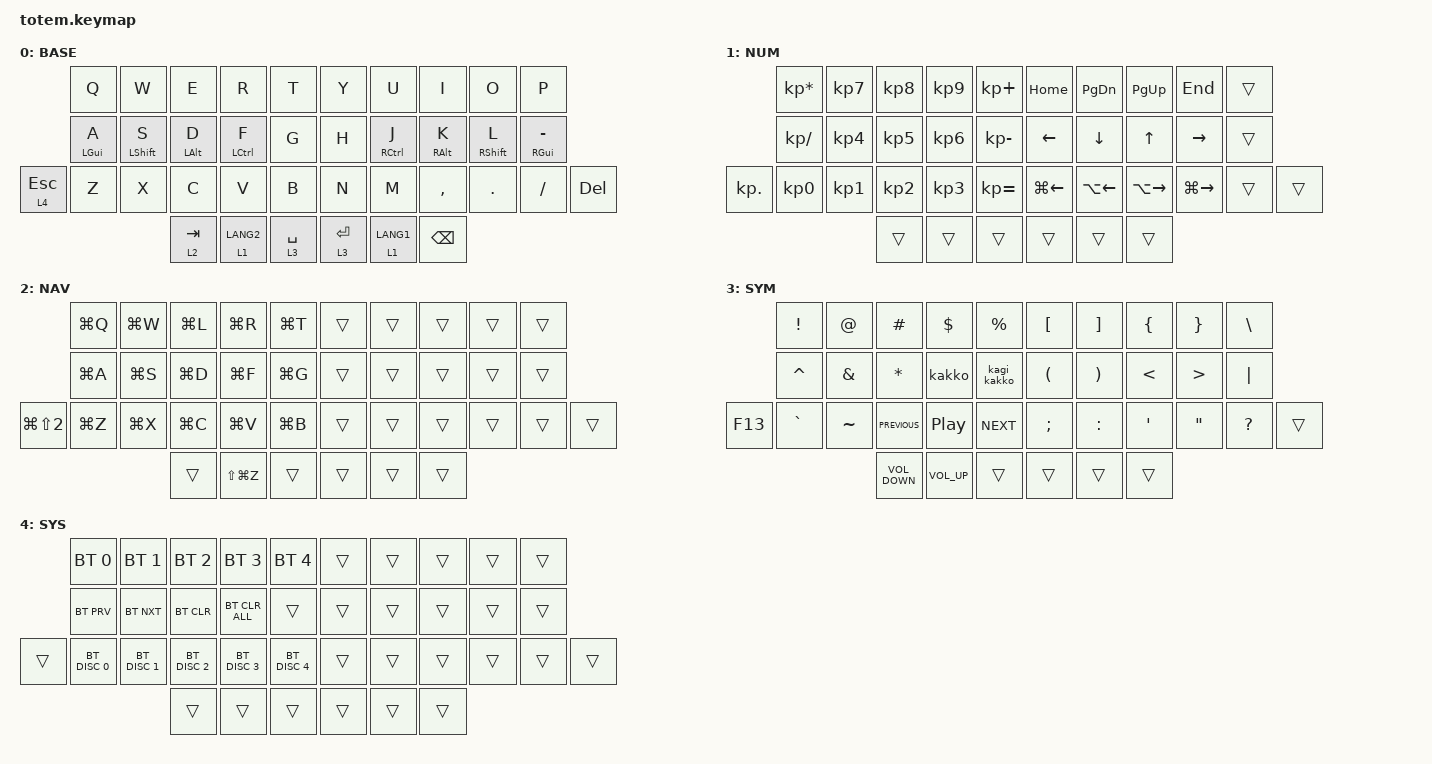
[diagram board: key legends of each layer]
//
//                                                        ▀▀▀▀▀     ▀▀▀▀▀          ▀▀█▀▀
//                                                        ▄▀▀▀▄  ▄  ▄▀▀▀▄  ▄  ▄▀▀▀▄  █  ▄▀▀▀▄
//                                                        █   █  █  █   █  █  █   █  █  █   █
//                                                         ▀▀▀   █   ▀▀▀   █   ▀▀▀   ▀   ▀▀▀
//                                                               █      ▄▄▄█▄▄▄    █   █  
//                                                               ▀      █  █  █     █▄█
//                                                             ▀▀▀▀▀    █  █  █      ▀
//                                                                      ▀  ▀  ▀
//
// ▄▄▄▄▄▄▄▄▄▄▄▄▄▄▄▄▄▄▄▄▄▄▄▄▄▄▄▄▄▄▄▄▄▄▄▄▄▄▄▄▄▄▄▄▄▄▄▄▄▄▄▄▄▄▄▄▄▄▄▄▄▄▄▄▄▄▄▄▄▄▄▄▄▄▄▄▄▄▄▄▄▄▄▄▄▄▄▄▄▄▄▄▄▄▄▄▄▄▄▄▄▄▄▄▄▄▄▄▄▄▄▄▄▄▄▄▄▄▄▄▄▄▄▄▄▄▄▄▄▄▄▄▄▄▄▄▄▄▄▄▄▄▄▄▄▄▄▄▄

#include <behaviors.dtsi>
#include <dt-bindings/zmk/bt.h>
#include <dt-bindings/zmk/keys.h>

// dt-formatter: indent = "    "
// dt-formatter: multilineIntegerCellsIndent = "keep"
// dt-formatter: multilineListCommaStyle = "leading"

&mt {
    quick-tap-ms = <100>;
    global-quick-tap;
    flavor = "tap-preferred";
    tapping-term-ms = <170>;
};

/ {
    combos {
        compatible = "zmk,combos";

        combo_esc {
            timeout-ms = <50>;
            key-positions = <0 1>;
            bindings = <&kp ESC>;
        };

        combo_tvp {
            timeout-ms = <100>;
            key-positions = <11 12 13>;
            bindings = <&tog 0>;
        };
    };

    macros {
        gif: gif {
            label = "giphy";
            compatible = "zmk,behavior-macro";
            #binding-cells = <0>;
            bindings
                = <&macro_press>
                , <&kp LSHFT>
                , <&macro_tap>
                , <&kp N2>
                , <&macro_release>
                , <&kp LSHFT>
                , <&macro_tap>
                , <&kp G &kp I &kp F>
                ;
        };

        kakko: kakko {
            compatible = "zmk,behavior-macro";
            #binding-cells = <0>;
            bindings = <&macro_tap>, <&kp LPAR &kp RPAR &kp LEFT_ARROW>;

            label = "KAKKO";
        };

        kagi_kakko: kagi_kakko {
            compatible = "zmk,behavior-macro";
            #binding-cells = <0>;
            bindings
                = <&macro_tap>
                , <&kp LEFT_BRACKET &kp RIGHT_BRACKET &kp LEFT_ARROW>
                ;

            label = "KAGI_KAKKO";
        };
    };

    keymap {
        compatible = "zmk,keymap";

        // ▄▄▄▄▄▄▄▄▄▄▄▄▄▄▄▄▄▄▄▄▄▄▄▄▄▄▄▄▄▄▄▄▄▄▄▄▄▄▄▄▄▄▄▄▄▄▄▄▄▄▄▄▄▄▄▄▄▄▄▄▄▄▄▄▄▄▄▄▄▄▄▄▄▄▄▄▄▄▄▄▄▄▄▄▄▄▄▄▄▄▄▄▄▄▄▄▄▄▄▄▄▄▄▄▄▄▄▄▄▄▄▄▄▄▄▄▄▄▄▄▄▄▄▄▄▄▄▄▄▄▄▄▄▄▄▄▄▄▄▄▄▄▄▄▄▄▄▄▄

        base_layer {
            // ┏━━━━━━━━━━━━━━━━━━━━━━━━━━━━━━━━━━━━━━━┓

            label = "BASE";

            // ┗━━━━━━━━━━━━━━━━━━━━━━━━━━━━━━━━━━━━━━━┛
            //             ┏━━━━━━━━━━━┳━━━━━━━━━━━┳━━━━━━━━━━━┳━━━━━━━━━━━┳━━━━━━━━━━━┓   ┏━━━━━━━━━━━┳━━━━━━━━━━━┳━━━━━━━━━━━┳━━━━━━━━━━━┳━━━━━━━━━━━┓
            //             ┃     Q     ┃     W     ┃     F     ┃     P     ┃     G     ┃   ┃     J     ┃     L     ┃     U     ┃     Y     ┃     ;     ┃
            //             ┣━━━━━━━━━━━╋━━━━━━━━━━━╋━━━━━━━━━━━╋━━━━━━━━━━━╋━━━━━━━━━━━┫   ┣━━━━━━━━━━━╋━━━━━━━━━━━╋━━━━━━━━━━━╋━━━━━━━━━━━╋━━━━━━━━━━━┫
            //             ┃     A     ┃     R     ┃     S     ┃     T     ┃     D     ┃   ┃     H     ┃     N     ┃     E     ┃     I     ┃     O     ┃
            // ┏━━━━━━━━━━━╋━━━━━━━━━━━╋━━━━━━━━━━━╋━━━━━━━━━━━╋━━━━━━━━━━━╋━━━━━━━━━━━┫   ┣━━━━━━━━━━━╋━━━━━━━━━━━╋━━━━━━━━━━━╋━━━━━━━━━━━╋━━━━━━━━━━━╋━━━━━━━━━━━┓
            // ┃     Q     ┃     Z     ┃     X     ┃     C     ┃     V     ┃     B     ┃   ┃     K     ┃     M     ┃     ,     ┃     .     ┃     /     ┃     \     ┃
            // ┗━━━━━━━━━━━┻━━━━━━━━━━━┻━━━━━━━━━━━╋━━━━━━━━━━━╋━━━━━━━━━━━╋━━━━━━━━━━━┫   ┣━━━━━━━━━━━╋━━━━━━━━━━━╋━━━━━━━━━━━╋━━━━━━━━━━━┻━━━━━━━━━━━┻━━━━━━━━━━━┛
            //                                     ┃    DEL    ┃    TAB    ┃    SPC    ┃   ┃   ENTER   ┃           ┃   BSPC    ┃
            //                                     ┗━━━━━━━━━━━┻━━━━━━━━━━━┻━━━━━━━━━━━┛   ┗━━━━━━━━━━━┻━━━━━━━━━━━┻━━━━━━━━━━━┛

            bindings = <
           &kp Q       &kp W             &kp E           &kp R        &kp T          &kp Y        &kp U        &kp I            &kp O         &kp P
           &mt LGUI A  &mt LEFT_SHIFT S  &mt LEFT_ALT D  &mt LCTRL F  &kp G          &kp H        &mt RCTRL J  &mt RIGHT_ALT K  &mt RSHIFT L  &mt RGUI MINUS
&lt 4 ESC  &kp Z       &kp X             &kp C           &kp V        &kp B          &kp N        &kp M        &kp COMMA        &kp DOT       &kp FSLH        &kp DEL
                                         &lt 2 TAB       &lt 1 LANG2  &lt 3 SPACE    &lt 3 ENTER  &lt 1 LANG1  &kp BSPC
            >;
        };

        num_layer {
            label = "NUM";
            bindings = <
            &kp KP_ASTERISK  &kp KP_N7  &kp KP_N8  &kp KP_N9  &kp KP_PLUS     &kp HOME            &kp PAGE_DOWN       &kp PG_UP            &kp END              &trans
            &kp KP_DIVIDE    &kp KP_N4  &kp KP_N5  &kp KP_N6  &kp KP_MINUS    &kp LEFT_ARROW      &kp DOWN_ARROW      &kp UP_ARROW         &kp RIGHT_ARROW      &trans
&kp KP_DOT  &kp KP_N0        &kp KP_N1  &kp KP_N2  &kp KP_N3  &kp KP_EQUAL    &kp LG(LEFT_ARROW)  &kp LA(LEFT_ARROW)  &kp LA(RIGHT_ARROW)  &kp LG(RIGHT_ARROW)  &trans  &trans
                                        &trans     &trans     &trans          &trans              &trans              &trans
            >;
        };

        nav_layer {
            // ┏━━━━━━━━━━━━━━━━━━━━━━━━━━━━━━━━━━━━━━━┓

            label = "NAV";

            // ┗━━━━━━━━━━━━━━━━━━━━━━━━━━━━━━━━━━━━━━━┛
            //             ┏━━━━━━━━━━━┳━━━━━━━━━━━┳━━━━━━━━━━━┳━━━━━━━━━━━┳━━━━━━━━━━━┓   ┏━━━━━━━━━━━┳━━━━━━━━━━━┳━━━━━━━━━━━┳━━━━━━━━━━━┳━━━━━━━━━━━┓
            //             ┃           ┃           ┃     UP    ┃           ┃     {     ┃   ┃     }     ┃     7     ┃     8     ┃     9     ┃     +     ┃
            //             ┣━━━━━━━━━━━╋━━━━━━━━━━━╋━━━━━━━━━━━╋━━━━━━━━━━━╋━━━━━━━━━━━┫   ┣━━━━━━━━━━━╋━━━━━━━━━━━╋━━━━━━━━━━━╋━━━━━━━━━━━╋━━━━━━━━━━━┫
            //             ┃   SHIFT   ┃   LEFT    ┃    DOWN   ┃   RIGHT   ┃     [     ┃   ┃     ]     ┃     4     ┃     5     ┃     6     ┃     -     ┃
            // ┏━━━━━━━━━━━╋━━━━━━━━━━━╋━━━━━━━━━━━╋━━━━━━━━━━━╋━━━━━━━━━━━╋━━━━━━━━━━━┫   ┣━━━━━━━━━━━╋━━━━━━━━━━━╋━━━━━━━━━━━╋━━━━━━━━━━━╋━━━━━━━━━━━╋━━━━━━━━━━━┓
            // ┃           ┃           ┃   P UP    ┃  C LOCK   ┃  P DOWN   ┃     (     ┃   ┃     )     ┃     1     ┃     2     ┃     3     ┃     *     ┃           ┃
            // ┗━━━━━━━━━━━┻━━━━━━━━━━━┻━━━━━━━━━━━╋━━━━━━━━━━━╋━━━━━━━━━━━╋━━━━━━━━━━━┫   ┣━━━━━━━━━━━╋━━━━━━━━━━━╋━━━━━━━━━━━╋━━━━━━━━━━━┻━━━━━━━━━━━┻━━━━━━━━━━━┛
            //                                     ┃           ┃    TAB    ┃    SPC    ┃   ┃    DEL    ┃     0     ┃           ┃
            //                                     ┗━━━━━━━━━━━┻━━━━━━━━━━━┻━━━━━━━━━━━┛   ┗━━━━━━━━━━━┻━━━━━━━━━━━┻━━━━━━━━━━━┛

            bindings = <
                      &kp LG(Q)  &kp LG(W)  &kp LG(L)  &kp LG(R)      &kp LG(T)    &trans  &trans  &trans  &trans  &trans
                      &kp LG(A)  &kp LG(S)  &kp LG(D)  &kp LG(F)      &kp LG(G)    &trans  &trans  &trans  &trans  &trans
&kp LG(LS(NUMBER_2))  &kp LG(Z)  &kp LG(X)  &kp LG(C)  &kp LG(V)      &kp LG(B)    &trans  &trans  &trans  &trans  &trans  &trans
                                            &trans     &kp LS(LG(Z))  &trans       &trans  &trans  &trans
            >;
        };

        sym_layer {
            // ┏━━━━━━━━━━━━━━━━━━━━━━━━━━━━━━━━━━━━━━━┓

            label = "SYM";

            // ┗━━━━━━━━━━━━━━━━━━━━━━━━━━━━━━━━━━━━━━━┛
            //             ┏━━━━━━━━━━━┳━━━━━━━━━━━┳━━━━━━━━━━━┳━━━━━━━━━━━┳━━━━━━━━━━━┓   ┏━━━━━━━━━━━┳━━━━━━━━━━━┳━━━━━━━━━━━┳━━━━━━━━━━━┳━━━━━━━━━━━┓
            //             ┃     !     ┃     @     ┃     #     ┃     $     ┃     %     ┃   ┃     ˆ     ┃     &     ┃     Ü     ┃     '     ┃     "     ┃
            //             ┣━━━━━━━━━━━╋━━━━━━━━━━━╋━━━━━━━━━━━╋━━━━━━━━━━━╋━━━━━━━━━━━┫   ┣━━━━━━━━━━━╋━━━━━━━━━━━╋━━━━━━━━━━━╋━━━━━━━━━━━╋━━━━━━━━━━━┫
            //             ┃     Ä     ┃           ┃    SZ     ┃           ┃           ┃   ┃   MUTE    ┃   YEN     ┃   EURO    ┃  POUND    ┃     Ö     ┃
            // ┏━━━━━━━━━━━╋━━━━━━━━━━━╋━━━━━━━━━━━╋━━━━━━━━━━━╋━━━━━━━━━━━╋━━━━━━━━━━━┫   ┣━━━━━━━━━━━╋━━━━━━━━━━━╋━━━━━━━━━━━╋━━━━━━━━━━━╋━━━━━━━━━━━╋━━━━━━━━━━━┓
            // ┃           ┃  EMAIL1   ┃  EMAIL2   ┃           ┃           ┃           ┃   ┃   VOL-    ┃   VOL+    ┃   LAST    ┃   NEXT    ┃     \     ┃           ┃
            // ┗━━━━━━━━━━━┻━━━━━━━━━━━┻━━━━━━━━━━━╋━━━━━━━━━━━╋━━━━━━━━━━━╋━━━━━━━━━━━┫   ┣━━━━━━━━━━━╋━━━━━━━━━━━╋━━━━━━━━━━━╋━━━━━━━━━━━┻━━━━━━━━━━━┻━━━━━━━━━━━┛
            //                                     ┃           ┃    GIF    ┃    ADJ    ┃   ┃           ┃           ┃           ┃
            //                                     ┗━━━━━━━━━━━┻━━━━━━━━━━━┻━━━━━━━━━━━┛   ┗━━━━━━━━━━━┻━━━━━━━━━━━┻━━━━━━━━━━━┛

            bindings = <
         &kp EXCL   &kp AT         &kp HASH           &kp DLLR          &kp PRCNT      &kp LEFT_BRACKET      &kp RIGHT_BRACKET      &kp LEFT_BRACE  &kp RIGHT_BRACE    &kp BACKSLASH
         &kp CARET  &kp AMPERSAND  &kp ASTERISK       &kakko            &kagi_kakko    &kp LEFT_PARENTHESIS  &kp RIGHT_PARENTHESIS  &kp LESS_THAN   &kp GREATER_THAN   &kp PIPE
&kp F13  &kp GRAVE  &kp TILDE      &kp C_PREVIOUS     &kp C_PLAY_PAUSE  &kp C_NEXT     &kp SEMICOLON         &kp COLON              &kp SQT         &kp DOUBLE_QUOTES  &kp QUESTION   &trans
                                   &kp C_VOLUME_DOWN  &kp C_VOLUME_UP   &trans         &trans                &trans                 &trans
            >;
        };

        sys_layer {
            // ┏━━━━━━━━━━━━━━━━━━━━━━━━━━━━━━━━━━━━━━━┓

            label = "SYS";

            // ┗━━━━━━━━━━━━━━━━━━━━━━━━━━━━━━━━━━━━━━━┛
            //             ┏━━━━━━━━━━━┳━━━━━━━━━━━┳━━━━━━━━━━━┳━━━━━━━━━━━┳━━━━━━━━━━━┓   ┏━━━━━━━━━━━┳━━━━━━━━━━━┳━━━━━━━━━━━┳━━━━━━━━━━━┳━━━━━━━━━━━┓
            //             ┃   RESET   ┃ BT CLEAR  ┃  OUT TOG  ┃           ┃           ┃   ┃           ┃    F7     ┃    F8     ┃    F9     ┃    F12    ┃
            //             ┣━━━━━━━━━━━╋━━━━━━━━━━━╋━━━━━━━━━━━╋━━━━━━━━━━━╋━━━━━━━━━━━┫   ┣━━━━━━━━━━━╋━━━━━━━━━━━╋━━━━━━━━━━━╋━━━━━━━━━━━╋━━━━━━━━━━━┫
            //             ┃ BOOTLOAD  ┃ BT NEXT   ┃           ┃           ┃           ┃   ┃           ┃    F4     ┃    F5     ┃    F6     ┃    F11    ┃
            // ┏━━━━━━━━━━━╋━━━━━━━━━━━╋━━━━━━━━━━━╋━━━━━━━━━━━╋━━━━━━━━━━━╋━━━━━━━━━━━┫   ┣━━━━━━━━━━━╋━━━━━━━━━━━╋━━━━━━━━━━━╋━━━━━━━━━━━╋━━━━━━━━━━━╋━━━━━━━━━━━┓
            // ┃           ┃           ┃ BT PREV   ┃           ┃           ┃           ┃   ┃           ┃    F1     ┃    F2     ┃    F3     ┃    F10    ┃           ┃
            // ┗━━━━━━━━━━━┻━━━━━━━━━━━┻━━━━━━━━━━━╋━━━━━━━━━━━╋━━━━━━━━━━━╋━━━━━━━━━━━┫   ┣━━━━━━━━━━━╋━━━━━━━━━━━╋━━━━━━━━━━━╋━━━━━━━━━━━┻━━━━━━━━━━━┻━━━━━━━━━━━┛
            //                                     ┃           ┃           ┃           ┃   ┃           ┃           ┃           ┃
            //                                     ┗━━━━━━━━━━━┻━━━━━━━━━━━┻━━━━━━━━━━━┛   ┗━━━━━━━━━━━┻━━━━━━━━━━━┻━━━━━━━━━━━┛

            bindings = <
        &bt BT_SEL 0   &bt BT_SEL 1   &bt BT_SEL 2   &bt BT_SEL 3    &bt BT_SEL 4     &trans  &trans  &trans  &trans  &trans
        &bt BT_PRV     &bt BT_NXT     &bt BT_CLR     &bt BT_CLR_ALL  &trans           &trans  &trans  &trans  &trans  &trans
&trans  &bt BT_DISC 0  &bt BT_DISC 1  &bt BT_DISC 2  &bt BT_DISC 3   &bt BT_DISC 4    &trans  &trans  &trans  &trans  &trans  &trans
                                      &trans         &trans          &trans           &trans  &trans  &trans
            >;
        };
    };
};
